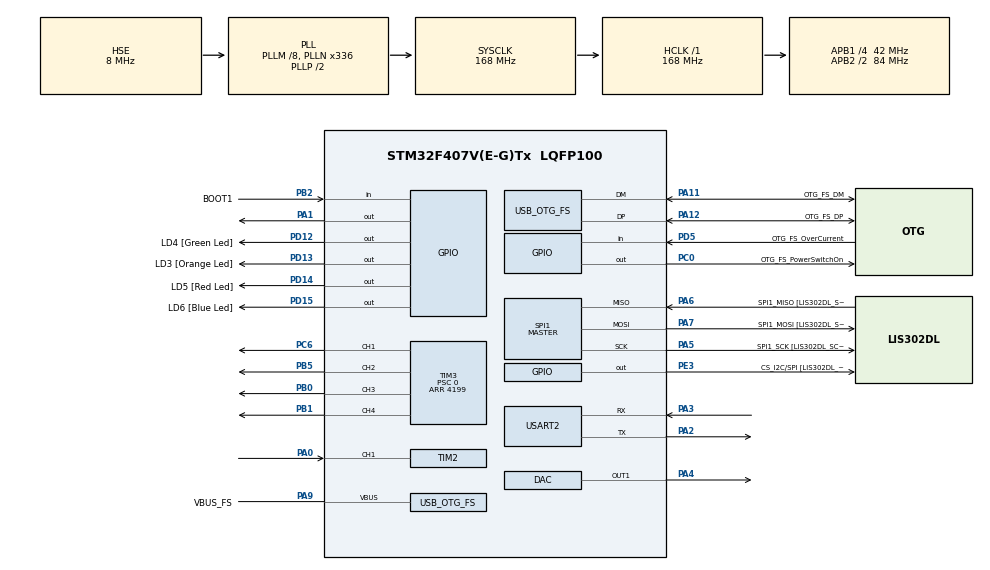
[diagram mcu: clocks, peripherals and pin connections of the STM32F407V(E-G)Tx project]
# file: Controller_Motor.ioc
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Mcu.Family=STM32F4
Mcu.Name=STM32F407V(E-G)Tx
Mcu.Package=LQFP100
NVIC.OTG_FS_IRQn=true\:0\:0\:false\:false\:true\:true\:true\:true
NVIC.PriorityGroup=NVIC_PRIORITYGROUP_0
NVIC.TIM2_IRQn=true\:0\:0\:false\:false\:true\:true\:true\:true
NVIC.USART2_IRQn=true\:0\:0\:false\:false\:true\:true\:true\:true
PA0-WKUP.Signal=S_TIM2_CH1_ETR
PA1.Signal=GPIO_Output
PA11.GPIO_Label=OTG_FS_DM
PA11.GPIO_Mode=GPIO_MODE_AF_PP
PA11.GPIO_PuPd=GPIO_NOPULL
PA11.GPIO_Speed=GPIO_SPEED_FREQ_LOW
PA11.Mode=Host_Only
PA11.Signal=USB_OTG_FS_DM
PA12.GPIO_Label=OTG_FS_DP
PA12.GPIO_Mode=GPIO_MODE_AF_PP
PA12.GPIO_PuPd=GPIO_NOPULL
PA12.GPIO_Speed=GPIO_SPEED_FREQ_LOW
PA12.Mode=Host_Only
PA12.Signal=USB_OTG_FS_DP
PA13.GPIO_Label=SWDIO
PA13.Mode=Serial_Wire
PA13.Signal=SYS_JTMS-SWDIO
PA14.GPIO_Label=SWCLK
PA14.Mode=Serial_Wire
PA14.Signal=SYS_JTCK-SWCLK
PA2.Mode=Asynchronous
PA2.Signal=USART2_TX
PA3.Mode=Asynchronous
PA3.Signal=USART2_RX
PA4.Signal=COMP_DAC1_group
PA5.GPIO_Label=SPI1_SCK [LIS302DL_SCL/SPC]
PA5.GPIO_Mode=GPIO_MODE_AF_PP
PA5.GPIO_PuPd=GPIO_NOPULL
PA5.GPIO_Speed=GPIO_SPEED_FREQ_LOW
PA5.Mode=Full_Duplex_Master
PA5.Signal=SPI1_SCK
PA6.GPIO_Label=SPI1_MISO [LIS302DL_SDO]
PA6.GPIO_Mode=GPIO_MODE_AF_PP
PA6.GPIO_PuPd=GPIO_NOPULL
PA6.GPIO_Speed=GPIO_SPEED_FREQ_LOW
PA6.Mode=Full_Duplex_Master
PA6.Signal=SPI1_MISO
PA7.GPIO_Label=SPI1_MOSI [LIS302DL_SDA/SDI/SDO]
PA7.GPIO_Mode=GPIO_MODE_AF_PP
PA7.GPIO_PuPd=GPIO_NOPULL
PA7.GPIO_Speed=GPIO_SPEED_FREQ_LOW
PA7.Mode=Full_Duplex_Master
PA7.Signal=SPI1_MOSI
PA9.GPIO_Label=VBUS_FS
PA9.GPIO_Mode=GPIO_MODE_INPUT
PA9.GPIO_PuPd=GPIO_NOPULL
PA9.Mode=Activate_VBUS
PA9.Signal=USB_OTG_FS_VBUS
PB0.Signal=S_TIM3_CH3
PB1.Signal=S_TIM3_CH4
PB2.GPIO_Label=BOOT1
PB2.GPIO_Mode=GPIO_MODE_INPUT
PB2.GPIO_PuPd=GPIO_NOPULL
PB2.Signal=GPIO_Input
PB5.Signal=S_TIM3_CH2
PC0.GPIO_Label=OTG_FS_PowerSwitchOn
PC0.GPIO_PuPd=GPIO_NOPULL
PC0.GPIO_Speed=GPIO_SPEED_FREQ_LOW
PC0.PinState=GPIO_PIN_SET
PC0.Signal=GPIO_Output
PC10.GPIO_Label=I2S3_SCK [CS43L22_SCLK]
PC10.GPIO_Mode=GPIO_MODE_AF_PP
PC10.GPIO_PuPd=GPIO_NOPULL
PC10.GPIO_Speed=GPIO_SPEED_FREQ_LOW
PC10.Signal=I2S3_CK
PC12.GPIO_Label=I2S3_SD [CS43L22_SDIN]
PC12.GPIO_Mode=GPIO_MODE_AF_PP
PC12.GPIO_PuPd=GPIO_NOPULL
PC12.GPIO_Speed=GPIO_SPEED_FREQ_LOW
PC12.Signal=I2S3_SD
PC14-OSC32_IN.GPIO_Label=PC14-OSC32_IN
PC14-OSC32_IN.Mode=LSE-External-Oscillator
PC14-OSC32_IN.Signal=RCC_OSC32_IN
PC15-OSC32_OUT.GPIO_Label=PC15-OSC32_OUT
PC15-OSC32_OUT.Mode=LSE-External-Oscillator
PC15-OSC32_OUT.Signal=RCC_OSC32_OUT
PC6.Signal=S_TIM3_CH1
PC7.GPIO_Label=I2S3_MCK [CS43L22_MCLK]
PC7.GPIO_Mode=GPIO_MODE_AF_PP
PC7.GPIO_PuPd=GPIO_NOPULL
PC7.GPIO_Speed=GPIO_SPEED_FREQ_LOW
PC7.Signal=I2S3_MCK
PD12.GPIO_Label=LD4 [Green Led]
PD12.GPIO_PuPd=GPIO_NOPULL
PD12.GPIO_Speed=GPIO_SPEED_FREQ_LOW
PD12.Signal=GPIO_Output
PD13.GPIO_Label=LD3 [Orange Led]
PD13.GPIO_PuPd=GPIO_NOPULL
PD13.GPIO_Speed=GPIO_SPEED_FREQ_LOW
PD13.Signal=GPIO_Output
PD14.GPIO_Label=LD5 [Red Led]
PD14.GPIO_PuPd=GPIO_NOPULL
PD14.GPIO_Speed=GPIO_SPEED_FREQ_LOW
PD14.Signal=GPIO_Output
PD15.GPIO_Label=LD6 [Blue Led]
PD15.GPIO_PuPd=GPIO_NOPULL
PD15.GPIO_Speed=GPIO_SPEED_FREQ_LOW
PD15.Signal=GPIO_Output
PD5.GPIO_Label=OTG_FS_OverCurrent
PD5.GPIO_Mode=GPIO_MODE_INPUT
PD5.GPIO_PuPd=GPIO_NOPULL
PD5.Signal=GPIO_Input
PE3.GPIO_Label=CS_I2C/SPI [LIS302DL_CS_I2C/SPI]
PE3.GPIO_PuPd=GPIO_NOPULL
PE3.GPIO_Speed=GPIO_SPEED_FREQ_LOW
PE3.Signal=GPIO_Output
PH0-OSC_IN.GPIO_Label=PH0-OSC_IN
PH0-OSC_IN.Mode=HSE-External-Oscillator
PH0-OSC_IN.Signal=RCC_OSC_IN
PH1-OSC_OUT.GPIO_Label=PH1-OSC_OUT
PH1-OSC_OUT.Mode=HSE-External-Oscillator
PH1-OSC_OUT.Signal=RCC_OSC_OUT
ProjectManager.HeapSize=0x200
ProjectManager.StackSize=0x400
ProjectManager.TargetToolchain=STM32CubeIDE
RCC.48MHZClocksFreq_Value=48000000
RCC.AHBFreq_Value=168000000
RCC.APB1CLKDivider=RCC_HCLK_DIV4
RCC.APB1Freq_Value=42000000
RCC.APB1TimFreq_Value=84000000
RCC.APB2CLKDivider=RCC_HCLK_DIV2
RCC.APB2Freq_Value=84000000
RCC.APB2TimFreq_Value=168000000
RCC.CortexFreq_Value=168000000
RCC.HCLKFreq_Value=168000000
RCC.HSE_VALUE=8000000
RCC.HSI_VALUE=16000000
RCC.PLLM=8
RCC.PLLN=336
RCC.PLLQ=7
RCC.SYSCLKFreq_VALUE=168000000
RCC.SYSCLKSource=RCC_SYSCLKSOURCE_PLLCLK
RCC.VCOOutputFreq_Value=336000000
SH.COMP_DAC1_group.0=DAC_OUT1,DAC_OUT1
SH.S_TIM2_CH1_ETR.0=TIM2_CH1,Input_Capture1_from_TI1
SH.S_TIM3_CH1.0=TIM3_CH1,PWM Generation1 CH1
SH.S_TIM3_CH2.0=TIM3_CH2,PWM Generation2 CH2
SH.S_TIM3_CH3.0=TIM3_CH3,PWM Generation3 CH3
SH.S_TIM3_CH4.0=TIM3_CH4,PWM Generation4 CH4
SPI1.BaudRatePrescaler-Full_Duplex_Master=SPI_BAUDRATEPRESCALER_2
SPI1.CalculateBaudRate-Full_Duplex_Master=42.0 MBits/s
SPI1.Direction=SPI_DIRECTION_2LINES
SPI1.Mode=SPI_MODE_MASTER
SPI1.Mode-Full_Duplex_Master=SPI_MODE_MASTER
SPI1.VirtualType=VM_MASTER
TIM2.Channel-Input_Capture1_from_TI1=TIM_CHANNEL_1
TIM2.Prescaler=83
TIM3.Channel-PWM\ Generation1\ CH1=TIM_CHANNEL_1
TIM3.Channel-PWM\ Generation2\ CH2=TIM_CHANNEL_2
TIM3.Channel-PWM\ Generation3\ CH3=TIM_CHANNEL_3
TIM3.Channel-PWM\ Generation4\ CH4=TIM_CHANNEL_4
TIM3.Period=4199
TIM3.Prescaler=0
USART2.VirtualMode=VM_ASYNC
USB_HOST.BSP.number=1
USB_HOST.USBH_HandleTypeDef-CDC_FS=hUsbHostFS
USB_HOST.VirtualModeFS=Cdc
USB_HOST0.BSP.STBoard=false
USB_HOST0.BSP.api=Unknown
USB_HOST0.BSP.instance=PC0
USB_HOST0.BSP.ip=GPIO
USB_HOST0.BSP.mode=Output
USB_HOST0.BSP.name=Drive_VBUS_FS
USB_HOST0.BSP.solution=PC0
USB_OTG_FS.VirtualMode=Host_Only
USB_OTG_FS.phy_itface=HCD_PHY_EMBEDDED
VP_TIM2_VS_ClockSourceINT.Mode=Internal
VP_TIM3_VS_ClockSourceINT.Mode=Internal
VP_USB_HOST_VS_USB_HOST_CDC_FS.Mode=CDC_FS
board=STM32F407G-DISC1

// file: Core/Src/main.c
/* USER CODE BEGIN Header */
/**
  ******************************************************************************
  * @file           : main.c
  * @brief          : Main program body
  ******************************************************************************
  * @attention
  *
  * Copyright (c) 2026 STMicroelectronics.
  * All rights reserved.
  *
  * This software is licensed under terms that can be found in the LICENSE file
  * in the root directory of this software component.
  * If no LICENSE file comes with this software, it is provided AS-IS.
  *
  ******************************************************************************
  */
/* USER CODE END Header */
#include "main.h"
#include "usb_host.h"

/* USER CODE BEGIN Includes */

#include <stdio.h>
#include <stdlib.h>
#include <string.h>

uint8_t rxData;         // One byte received from UART
char rxBuffer[20];      // Buffer for received joystick data
uint8_t rxIndex = 0;    // Buffer index

volatile int joystick_x = 2048;     // Default joystick X center value
volatile int joystick_y = 2048;     // Default joystick Y center value
volatile uint8_t newData = 0;       // New UART data flag

#define PWM_MAX     4200            // Maximum PWM value
#define ADC_CENTER  2048            // Center value of joystick ADC
#define DEADZONE    500             // Joystick deadzone range

int left_speed = 0;                 // Left motor speed value
int right_speed = 0;                // Right motor speed value

void HCSR04_Trigger(void);          // Function prototype for ultrasonic trigger
void delay_us(uint32_t us);         // Function prototype for microsecond delay

volatile uint32_t ic_rising = 0;    // Timer value at rising edge
volatile uint32_t ic_falling = 0;   // Timer value at falling edge
volatile uint32_t echo_us = 0;      // Echo pulse duration in microseconds
volatile uint8_t is_first_capture = 0; // Capture state flag
volatile uint8_t distance_ready = 0;   // Distance measurement ready flag
uint32_t last_trigger_time = 0;        // Last trigger time

uint32_t distance_cm = 0;           // Distance value in centimeters
uint32_t dacValue = 0;              // DAC output value
uint32_t echoTime = 0;              // Echo time variable

/* USER CODE END Includes */

DAC_HandleTypeDef hdac;

SPI_HandleTypeDef hspi1;

TIM_HandleTypeDef htim2;
TIM_HandleTypeDef htim3;

UART_HandleTypeDef huart2;

void SystemClock_Config(void);
static void MX_GPIO_Init(void);
static void MX_SPI1_Init(void);
static void MX_TIM3_Init(void);
static void MX_USART2_UART_Init(void);
static void MX_TIM2_Init(void);
static void MX_DAC_Init(void);
void MX_USB_HOST_Process(void);

/* USER CODE BEGIN 0 */
int limit_pwm(int value)
{
    if (value > PWM_MAX) return PWM_MAX;   // Limit positive PWM value
    if (value < -PWM_MAX) return -PWM_MAX; // Limit negative PWM value
    return value;                          // Return safe PWM value
}

int joystick_to_pwm(int adc_value)
{
    int centered = adc_value - ADC_CENTER; // Convert ADC value around center

    if (centered > -DEADZONE && centered < DEADZONE)
    {
        return 0;                          // Stop motor inside deadzone
    }

    if (centered > 0)
    {
        return (centered * PWM_MAX) / (4095 - ADC_CENTER); // Convert positive joystick value to PWM
    }
    else
    {
        return (centered * PWM_MAX) / ADC_CENTER;          // Convert negative joystick value to PWM
    }
}

void Motor_Left_SetSpeed(int speed)
{
    speed = limit_pwm(speed);              // Limit motor speed value

    if (speed > 0)
    {
        __HAL_TIM_SET_COMPARE(&htim3, TIM_CHANNEL_1, speed); // Left motor forward PWM
        __HAL_TIM_SET_COMPARE(&htim3, TIM_CHANNEL_2, 0);     // Reverse PWM off
    }
    else if (speed < 0)
    {
        __HAL_TIM_SET_COMPARE(&htim3, TIM_CHANNEL_1, 0);      // Forward PWM off
        __HAL_TIM_SET_COMPARE(&htim3, TIM_CHANNEL_2, -speed); // Left motor reverse PWM
    }
    else
    {
        __HAL_TIM_SET_COMPARE(&htim3, TIM_CHANNEL_1, 0);      // Stop forward PWM
        __HAL_TIM_SET_COMPARE(&htim3, TIM_CHANNEL_2, 0);      // Stop reverse PWM
    }
}

void Motor_Right_SetSpeed(int speed)
{
    speed = limit_pwm(speed);              // Limit motor speed value

    if (speed > 0)
    {
        __HAL_TIM_SET_COMPARE(&htim3, TIM_CHANNEL_3, speed); // Right motor forward PWM
        __HAL_TIM_SET_COMPARE(&htim3, TIM_CHANNEL_4, 0);     // Reverse PWM off
    }
    else if (speed < 0)
    {
        __HAL_TIM_SET_COMPARE(&htim3, TIM_CHANNEL_3, 0);      // Forward PWM off
        __HAL_TIM_SET_COMPARE(&htim3, TIM_CHANNEL_4, -speed); // Right motor reverse PWM
    }
    else
    {
        __HAL_TIM_SET_COMPARE(&htim3, TIM_CHANNEL_3, 0);      // Stop forward PWM
        __HAL_TIM_SET_COMPARE(&htim3, TIM_CHANNEL_4, 0);      // Stop reverse PWM
    }
}

void Motor_Stop(void)
{
    Motor_Left_SetSpeed(0);       // Stop left motor
    Motor_Right_SetSpeed(0);      // Stop right motor
}

void drive_from_uart_joystick(void)
{
    int x = joystick_x;           // Read joystick X value
    int y = joystick_y;           // Read joystick Y value

    int forward = joystick_to_pwm(y); // Convert Y axis to forward/backward PWM
    int turn    = joystick_to_pwm(x); // Convert X axis to turning PWM

    left_speed = 0;               // Reset left speed
    right_speed = 0;              // Reset right speed

    if (forward != 0)
    {
        left_speed = forward;     // Move left motor forward/backward
        right_speed = forward;    // Move right motor forward/backward
    }
    else
    {
        if (turn > 0)
        {
            left_speed = turn;    // Turn right by driving left motor
            right_speed = 0;      // Keep right motor stopped
        }
        else if (turn < 0)
        {
            left_speed = 0;       // Keep left motor stopped
            right_speed = -turn;  // Turn left by driving right motor
        }
        else
        {
            left_speed = 0;       // Stop left motor
            right_speed = 0;      // Stop right motor
        }
    }

    left_speed = limit_pwm(left_speed);     // Limit left motor PWM
    right_speed = limit_pwm(right_speed);   // Limit right motor PWM

    Motor_Left_SetSpeed(left_speed);        // Apply left motor speed
    Motor_Right_SetSpeed(right_speed);      // Apply right motor speed
}

void delay_us(uint32_t us)
{
    uint32_t start = __HAL_TIM_GET_COUNTER(&htim2); // Get current timer value

    while ((__HAL_TIM_GET_COUNTER(&htim2) - start) < us); // Wait for given microseconds
}

void HCSR04_Trigger(void)
{
    HAL_GPIO_WritePin(GPIOA, GPIO_PIN_1, GPIO_PIN_RESET); // Set trigger pin low
    delay_us(2);                                          // Wait 2 us

    HAL_GPIO_WritePin(GPIOA, GPIO_PIN_1, GPIO_PIN_SET);   // Set trigger pin high
    delay_us(10);                                         // Send 10 us trigger pulse

    HAL_GPIO_WritePin(GPIOA, GPIO_PIN_1, GPIO_PIN_RESET); // Set trigger pin low again
}
/* USER CODE END 0 */

int main(void)
{

  /* MCU Configuration--------------------------------------------------------*/

  /* Reset of all peripherals, Initializes the Flash interface and the Systick. */
  HAL_Init();

  /* Configure the system clock */
  SystemClock_Config();

  /* Initialize all configured peripherals */
  MX_GPIO_Init();
  MX_SPI1_Init();
  MX_USB_HOST_Init();
  MX_TIM3_Init();
  MX_USART2_UART_Init();
  MX_TIM2_Init();
  MX_DAC_Init();
  /* USER CODE BEGIN 2 */
  HAL_TIM_PWM_Start(&htim3, TIM_CHANNEL_1);     // Start PWM for left motor forward
  HAL_TIM_PWM_Start(&htim3, TIM_CHANNEL_2);     // Start PWM for left motor reverse
  HAL_TIM_PWM_Start(&htim3, TIM_CHANNEL_3);     // Start PWM for right motor forward
  HAL_TIM_PWM_Start(&htim3, TIM_CHANNEL_4);     // Start PWM for right motor reverse

  HAL_TIM_IC_Start_IT(&htim2, TIM_CHANNEL_1);   // Start input capture interrupt for echo signal
  HAL_DAC_Start(&hdac, DAC_CHANNEL_1);          // Start DAC output

  Motor_Stop();                                 // Stop motors at startup

  HAL_UART_Receive_IT(&huart2, &rxData, 1);     // Start UART receive interrupt

  /* USER CODE END 2 */

  /* Infinite loop */
  while (1)
  {
    MX_USB_HOST_Process();

    /* USER CODE BEGIN 3 */
    drive_from_uart_joystick();               // Drive motors according to joystick data

    if (HAL_GetTick() - last_trigger_time >= 60)
        {
            last_trigger_time = HAL_GetTick();    // Update trigger time

            distance_ready = 0;                   // Clear distance ready flag
            is_first_capture = 0;                 // Reset capture state

            __HAL_TIM_SET_CAPTUREPOLARITY(&htim2, TIM_CHANNEL_1, TIM_INPUTCHANNELPOLARITY_RISING);
            // Set input capture to rising edge

            HCSR04_Trigger();                     // Send trigger pulse to ultrasonic sensor
        }

        if ((HAL_GetTick() - last_trigger_time > 35) && distance_ready == 0)
        {
            distance_cm = 100;                    // Set maximum distance if no echo is received
        }

        if (distance_cm > 100)
        {
            distance_cm = 100;                    // Limit distance to 100 cm
        }

        dacValue = 4095 - ((distance_cm * 4095) / 100);
        // Convert distance value to DAC value

        HAL_DAC_SetValue(&hdac, DAC_CHANNEL_1, DAC_ALIGN_12B_R, dacValue);
        // Write calculated value to DAC output

        HAL_Delay(5);                             // Small delay

  }
  /* USER CODE END 3 */
}

void SystemClock_Config(void)
{
  RCC_OscInitTypeDef RCC_OscInitStruct = {0};
  RCC_ClkInitTypeDef RCC_ClkInitStruct = {0};

  /** Configure the main internal regulator output voltage
  */
  __HAL_RCC_PWR_CLK_ENABLE();
  __HAL_PWR_VOLTAGESCALING_CONFIG(PWR_REGULATOR_VOLTAGE_SCALE1);

  /** Initializes the RCC Oscillators according to the specified parameters
  * in the RCC_OscInitTypeDef structure.
  */
  RCC_OscInitStruct.OscillatorType = RCC_OSCILLATORTYPE_HSE;
  RCC_OscInitStruct.HSEState = RCC_HSE_ON;
  RCC_OscInitStruct.PLL.PLLState = RCC_PLL_ON;
  RCC_OscInitStruct.PLL.PLLSource = RCC_PLLSOURCE_HSE;
  RCC_OscInitStruct.PLL.PLLM = 8;
  RCC_OscInitStruct.PLL.PLLN = 336;
  RCC_OscInitStruct.PLL.PLLP = RCC_PLLP_DIV2;
  RCC_OscInitStruct.PLL.PLLQ = 7;
  if (HAL_RCC_OscConfig(&RCC_OscInitStruct) != HAL_OK)
  {
    Error_Handler();
  }

  /** Initializes the CPU, AHB and APB buses clocks
  */
  RCC_ClkInitStruct.ClockType = RCC_CLOCKTYPE_HCLK|RCC_CLOCKTYPE_SYSCLK
                              |RCC_CLOCKTYPE_PCLK1|RCC_CLOCKTYPE_PCLK2;
  RCC_ClkInitStruct.SYSCLKSource = RCC_SYSCLKSOURCE_PLLCLK;
  RCC_ClkInitStruct.AHBCLKDivider = RCC_SYSCLK_DIV1;
  RCC_ClkInitStruct.APB1CLKDivider = RCC_HCLK_DIV4;
  RCC_ClkInitStruct.APB2CLKDivider = RCC_HCLK_DIV2;

  if (HAL_RCC_ClockConfig(&RCC_ClkInitStruct, FLASH_LATENCY_5) != HAL_OK)
  {
    Error_Handler();
  }
}

static void MX_DAC_Init(void)
{

  DAC_ChannelConfTypeDef sConfig = {0};

  /** DAC Initialization
  */
  hdac.Instance = DAC;
  if (HAL_DAC_Init(&hdac) != HAL_OK)
  {
    Error_Handler();
  }

  /** DAC channel OUT1 config
  */
  sConfig.DAC_Trigger = DAC_TRIGGER_NONE;
  sConfig.DAC_OutputBuffer = DAC_OUTPUTBUFFER_ENABLE;
  if (HAL_DAC_ConfigChannel(&hdac, &sConfig, DAC_CHANNEL_1) != HAL_OK)
  {
    Error_Handler();
  }

}

static void MX_SPI1_Init(void)
{

  /* SPI1 parameter configuration*/
  hspi1.Instance = SPI1;
  hspi1.Init.Mode = SPI_MODE_MASTER;
  hspi1.Init.Direction = SPI_DIRECTION_2LINES;
  hspi1.Init.DataSize = SPI_DATASIZE_8BIT;
  hspi1.Init.CLKPolarity = SPI_POLARITY_LOW;
  hspi1.Init.CLKPhase = SPI_PHASE_1EDGE;
  hspi1.Init.NSS = SPI_NSS_SOFT;
  hspi1.Init.BaudRatePrescaler = SPI_BAUDRATEPRESCALER_2;
  hspi1.Init.FirstBit = SPI_FIRSTBIT_MSB;
  hspi1.Init.TIMode = SPI_TIMODE_DISABLE;
  hspi1.Init.CRCCalculation = SPI_CRCCALCULATION_DISABLE;
  hspi1.Init.CRCPolynomial = 10;
  if (HAL_SPI_Init(&hspi1) != HAL_OK)
  {
    Error_Handler();
  }

}

static void MX_TIM2_Init(void)
{

  TIM_ClockConfigTypeDef sClockSourceConfig = {0};
  TIM_MasterConfigTypeDef sMasterConfig = {0};
  TIM_IC_InitTypeDef sConfigIC = {0};

  htim2.Instance = TIM2;
  htim2.Init.Prescaler = 83;
  htim2.Init.CounterMode = TIM_COUNTERMODE_UP;
  htim2.Init.Period = 4294967295;
  htim2.Init.ClockDivision = TIM_CLOCKDIVISION_DIV1;
  htim2.Init.AutoReloadPreload = TIM_AUTORELOAD_PRELOAD_DISABLE;
  if (HAL_TIM_Base_Init(&htim2) != HAL_OK)
  {
    Error_Handler();
  }
  sClockSourceConfig.ClockSource = TIM_CLOCKSOURCE_INTERNAL;
  if (HAL_TIM_ConfigClockSource(&htim2, &sClockSourceConfig) != HAL_OK)
  {
    Error_Handler();
  }
  if (HAL_TIM_IC_Init(&htim2) != HAL_OK)
  {
    Error_Handler();
  }
  sMasterConfig.MasterOutputTrigger = TIM_TRGO_RESET;
  sMasterConfig.MasterSlaveMode = TIM_MASTERSLAVEMODE_DISABLE;
  if (HAL_TIMEx_MasterConfigSynchronization(&htim2, &sMasterConfig) != HAL_OK)
  {
    Error_Handler();
  }
  sConfigIC.ICPolarity = TIM_INPUTCHANNELPOLARITY_RISING;
  sConfigIC.ICSelection = TIM_ICSELECTION_DIRECTTI;
  sConfigIC.ICPrescaler = TIM_ICPSC_DIV1;
  sConfigIC.ICFilter = 0;
  if (HAL_TIM_IC_ConfigChannel(&htim2, &sConfigIC, TIM_CHANNEL_1) != HAL_OK)
  {
    Error_Handler();
  }

}

static void MX_TIM3_Init(void)
{

  TIM_ClockConfigTypeDef sClockSourceConfig = {0};
  TIM_MasterConfigTypeDef sMasterConfig = {0};
  TIM_OC_InitTypeDef sConfigOC = {0};

  htim3.Instance = TIM3;
  htim3.Init.Prescaler = 0;
  htim3.Init.CounterMode = TIM_COUNTERMODE_UP;
  htim3.Init.Period = 4199;
  htim3.Init.ClockDivision = TIM_CLOCKDIVISION_DIV1;
  htim3.Init.AutoReloadPreload = TIM_AUTORELOAD_PRELOAD_DISABLE;
  if (HAL_TIM_Base_Init(&htim3) != HAL_OK)
  {
    Error_Handler();
  }
  sClockSourceConfig.ClockSource = TIM_CLOCKSOURCE_INTERNAL;
  if (HAL_TIM_ConfigClockSource(&htim3, &sClockSourceConfig) != HAL_OK)
  {
    Error_Handler();
  }
  if (HAL_TIM_PWM_Init(&htim3) != HAL_OK)
  {
    Error_Handler();
  }
  sMasterConfig.MasterOutputTrigger = TIM_TRGO_RESET;
  sMasterConfig.MasterSlaveMode = TIM_MASTERSLAVEMODE_DISABLE;
  if (HAL_TIMEx_MasterConfigSynchronization(&htim3, &sMasterConfig) != HAL_OK)
  {
    Error_Handler();
  }
  sConfigOC.OCMode = TIM_OCMODE_PWM1;
  sConfigOC.Pulse = 0;
  sConfigOC.OCPolarity = TIM_OCPOLARITY_HIGH;
  sConfigOC.OCFastMode = TIM_OCFAST_DISABLE;
  if (HAL_TIM_PWM_ConfigChannel(&htim3, &sConfigOC, TIM_CHANNEL_1) != HAL_OK)
  {
    Error_Handler();
  }
  if (HAL_TIM_PWM_ConfigChannel(&htim3, &sConfigOC, TIM_CHANNEL_2) != HAL_OK)
  {
    Error_Handler();
  }
  if (HAL_TIM_PWM_ConfigChannel(&htim3, &sConfigOC, TIM_CHANNEL_3) != HAL_OK)
  {
    Error_Handler();
  }
  if (HAL_TIM_PWM_ConfigChannel(&htim3, &sConfigOC, TIM_CHANNEL_4) != HAL_OK)
  {
    Error_Handler();
  }
  HAL_TIM_MspPostInit(&htim3);

}

static void MX_USART2_UART_Init(void)
{

  huart2.Instance = USART2;
  huart2.Init.BaudRate = 115200;
  huart2.Init.WordLength = UART_WORDLENGTH_8B;
  huart2.Init.StopBits = UART_STOPBITS_1;
  huart2.Init.Parity = UART_PARITY_NONE;
  huart2.Init.Mode = UART_MODE_TX_RX;
  huart2.Init.HwFlowCtl = UART_HWCONTROL_NONE;
  huart2.Init.OverSampling = UART_OVERSAMPLING_16;
  if (HAL_UART_Init(&huart2) != HAL_OK)
  {
    Error_Handler();
  }

}

static void MX_GPIO_Init(void)
{
  GPIO_InitTypeDef GPIO_InitStruct = {0};

  /* GPIO Ports Clock Enable */
  __HAL_RCC_GPIOE_CLK_ENABLE();
  __HAL_RCC_GPIOC_CLK_ENABLE();
  __HAL_RCC_GPIOH_CLK_ENABLE();
  __HAL_RCC_GPIOA_CLK_ENABLE();
  __HAL_RCC_GPIOB_CLK_ENABLE();
  __HAL_RCC_GPIOD_CLK_ENABLE();

  /*Configure GPIO pin Output Level */
  HAL_GPIO_WritePin(CS_I2C_SPI_GPIO_Port, CS_I2C_SPI_Pin, GPIO_PIN_RESET);

  /*Configure GPIO pin Output Level */
  HAL_GPIO_WritePin(OTG_FS_PowerSwitchOn_GPIO_Port, OTG_FS_PowerSwitchOn_Pin, GPIO_PIN_SET);

  /*Configure GPIO pin Output Level */
  HAL_GPIO_WritePin(GPIOA, GPIO_PIN_1, GPIO_PIN_RESET);

  /*Configure GPIO pin Output Level */
  HAL_GPIO_WritePin(GPIOD, LD4_Pin|LD3_Pin|LD5_Pin|LD6_Pin, GPIO_PIN_RESET);

  /*Configure GPIO pin : CS_I2C_SPI_Pin */
  GPIO_InitStruct.Pin = CS_I2C_SPI_Pin;
  GPIO_InitStruct.Mode = GPIO_MODE_OUTPUT_PP;
  GPIO_InitStruct.Pull = GPIO_NOPULL;
  GPIO_InitStruct.Speed = GPIO_SPEED_FREQ_LOW;
  HAL_GPIO_Init(CS_I2C_SPI_GPIO_Port, &GPIO_InitStruct);

  /*Configure GPIO pin : OTG_FS_PowerSwitchOn_Pin */
  GPIO_InitStruct.Pin = OTG_FS_PowerSwitchOn_Pin;
  GPIO_InitStruct.Mode = GPIO_MODE_OUTPUT_PP;
  GPIO_InitStruct.Pull = GPIO_NOPULL;
  GPIO_InitStruct.Speed = GPIO_SPEED_FREQ_LOW;
  HAL_GPIO_Init(OTG_FS_PowerSwitchOn_GPIO_Port, &GPIO_InitStruct);

  /*Configure GPIO pin : PA1 */
  GPIO_InitStruct.Pin = GPIO_PIN_1;
  GPIO_InitStruct.Mode = GPIO_MODE_OUTPUT_PP;
  GPIO_InitStruct.Pull = GPIO_NOPULL;
  GPIO_InitStruct.Speed = GPIO_SPEED_FREQ_LOW;
  HAL_GPIO_Init(GPIOA, &GPIO_InitStruct);

  /*Configure GPIO pin : BOOT1_Pin */
  GPIO_InitStruct.Pin = BOOT1_Pin;
  GPIO_InitStruct.Mode = GPIO_MODE_INPUT;
  GPIO_InitStruct.Pull = GPIO_NOPULL;
  HAL_GPIO_Init(BOOT1_GPIO_Port, &GPIO_InitStruct);

  /*Configure GPIO pins : LD4_Pin LD3_Pin LD5_Pin LD6_Pin */
  GPIO_InitStruct.Pin = LD4_Pin|LD3_Pin|LD5_Pin|LD6_Pin;
  GPIO_InitStruct.Mode = GPIO_MODE_OUTPUT_PP;
  GPIO_InitStruct.Pull = GPIO_NOPULL;
  GPIO_InitStruct.Speed = GPIO_SPEED_FREQ_LOW;
  HAL_GPIO_Init(GPIOD, &GPIO_InitStruct);

  /*Configure GPIO pins : I2S3_MCK_Pin I2S3_SCK_Pin I2S3_SD_Pin */
  GPIO_InitStruct.Pin = I2S3_MCK_Pin|I2S3_SCK_Pin|I2S3_SD_Pin;
  GPIO_InitStruct.Mode = GPIO_MODE_AF_PP;
  GPIO_InitStruct.Pull = GPIO_NOPULL;
  GPIO_InitStruct.Speed = GPIO_SPEED_FREQ_LOW;
  GPIO_InitStruct.Alternate = GPIO_AF6_SPI3;
  HAL_GPIO_Init(GPIOC, &GPIO_InitStruct);

  /*Configure GPIO pin : OTG_FS_OverCurrent_Pin */
  GPIO_InitStruct.Pin = OTG_FS_OverCurrent_Pin;
  GPIO_InitStruct.Mode = GPIO_MODE_INPUT;
  GPIO_InitStruct.Pull = GPIO_NOPULL;
  HAL_GPIO_Init(OTG_FS_OverCurrent_GPIO_Port, &GPIO_InitStruct);

}

/* USER CODE BEGIN 4 */
void HAL_UART_RxCpltCallback(UART_HandleTypeDef *huart)
{
    if (huart->Instance == USART2)             // Check if interrupt comes from USART2
    {
        HAL_GPIO_TogglePin(GPIOD, LD4_Pin);    // Toggle LED when UART data is received

        if (rxData == '\n')                    // Check end of received data
        {
            rxBuffer[rxIndex] = '\0';          // Finish string

            sscanf(rxBuffer, "%d,%d", (int*)&joystick_x, (int*)&joystick_y);
            // Split received X,Y joystick data

            rxIndex = 0;                       // Reset buffer index
            newData = 1;                       // Set new data flag
        }
        else
        {
            if (rxIndex < sizeof(rxBuffer) - 1)
            {
                rxBuffer[rxIndex++] = rxData;  // Store received byte in buffer
            }
            else
            {
                rxIndex = 0;                   // Reset buffer if it is full
            }
        }

        HAL_UART_Receive_IT(&huart2, &rxData, 1); // Restart UART receive interrupt
    }
}

void HAL_TIM_IC_CaptureCallback(TIM_HandleTypeDef *htim)
{
    if (htim->Instance == TIM2 && htim->Channel == HAL_TIM_ACTIVE_CHANNEL_1)
    {
        if (is_first_capture == 0)
        {
            ic_rising = HAL_TIM_ReadCapturedValue(htim, TIM_CHANNEL_1);
            // Read rising edge timer value

            is_first_capture = 1;              // First edge is captured

            __HAL_TIM_SET_CAPTUREPOLARITY(htim, TIM_CHANNEL_1, TIM_INPUTCHANNELPOLARITY_FALLING);
            // Change capture polarity to falling edge
        }
        else
        {
            ic_falling = HAL_TIM_ReadCapturedValue(htim, TIM_CHANNEL_1);
            // Read falling edge timer value

            if (ic_falling >= ic_rising)
            {
                echo_us = ic_falling - ic_rising; // Calculate echo pulse time
            }
            else
            {
                echo_us = (0xFFFFFFFF - ic_rising) + ic_falling + 1;
                // Calculate pulse time if timer overflows
            }

            distance_cm = echo_us / 58;        // Convert echo time to distance in cm

            if (distance_cm > 100)
            {
                distance_cm = 100;             // Limit distance to 100 cm
            }

            distance_ready = 1;                // Distance value is ready
            is_first_capture = 0;              // Reset capture state

            __HAL_TIM_SET_CAPTUREPOLARITY(htim, TIM_CHANNEL_1, TIM_INPUTCHANNELPOLARITY_RISING);
            // Change capture polarity back to rising edge
        }
    }
}
/* USER CODE END 4 */

void Error_Handler(void)
{
  __disable_irq();
  while (1)
  {
  }
}
